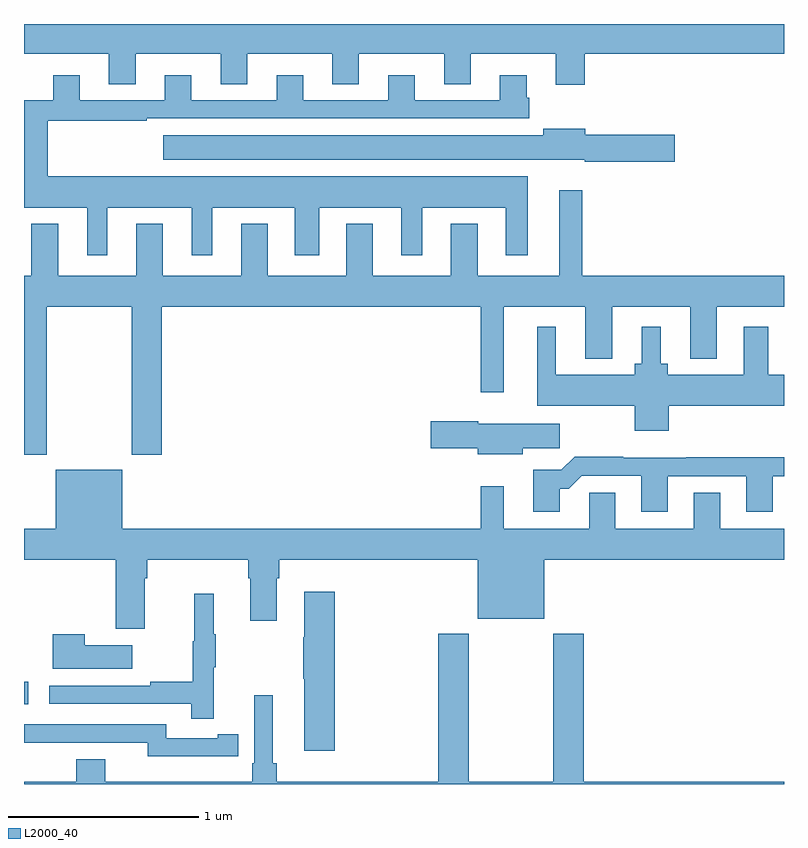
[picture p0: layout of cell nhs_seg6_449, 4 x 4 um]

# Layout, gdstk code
import gdstk
lib = gdstk.Library(unit=1e-6, precision=1e-09)
def R(c, l, rs):  # rectangles x0, y0, x1, y1
    for r in rs: c.add(gdstk.rectangle(r[:2], r[2:], *l))
def P(c, l, *ps):  # polygons
    for p in ps: c.add(gdstk.Polygon(p, *l))
L2000_40 = (2000, 40)

nhs_seg6_449 = lib.new_cell('nhs_seg6_449')
R(nhs_seg6_449, L2000_40, [(137,935.919,137.023,936.039)])
P(nhs_seg6_449, L2000_40, [(139.952,939.344),(141,939.344),(141,939.5),(137,939.5),(137,939.344),(137.447,939.344),(137.447,939.184),(137.587,939.184),(137.587,939.344),(138.035,939.344),(138.035,939.184),(138.175,939.184),(138.175,939.344),(138.623,939.344),(138.623,939.184),(138.763,939.184),(138.763,939.344),(139.211,939.344),(139.211,939.184),(139.351,939.184),(139.351,939.344),(139.799,939.344),(139.799,939.18),(139.952,939.18)],
  [(137.437,938.534),(137.882,938.534),(137.882,938.283),(137.992,938.283),(137.992,938.534),(138.425,938.534),(138.425,938.283),(138.553,938.283),(138.553,938.534),(138.986,938.534),(138.986,938.283),(139.096,938.283),(139.096,938.534),(139.535,938.534),(139.535,938.283),(139.651,938.283),(139.651,938.698),(137.125,938.698),(137.125,938.991),(137.645,938.991),(137.645,939.003),(139.658,939.003),(139.658,939.111),(139.645,939.111),(139.645,939.229),(139.505,939.229),(139.505,939.099),(139.057,939.099),(139.057,939.229),(138.917,939.229),(138.917,939.099),(138.469,939.099),(138.469,939.229),(138.329,939.229),(138.329,939.099),(137.881,939.099),(137.881,939.229),(137.741,939.229),(137.741,939.099),(137.293,939.099),(137.293,939.229),(137.153,939.229),(137.153,939.1),(137,939.1),(137,938.534),(137.333,938.534),(137.333,938.283),(137.437,938.283)],
  [(140.425,938.916),(139.954,938.916),(139.954,938.95),(139.733,938.95),(139.733,938.914),(137.733,938.914),(137.733,938.786),(139.95,938.786),(139.95,938.774),(140.425,938.774)],
  [(137.039,938.176),(137,938.176),(137,937.233),(137.121,937.233),(137.121,938.012),(137.566,938.012),(137.566,937.233),(137.726,937.233),(137.726,938.012),(139.404,938.012),(139.404,937.563),(139.525,937.563),(139.525,938.012),(139.955,938.012),(139.955,937.739),(140.095,937.739),(140.095,938.012),(140.507,938.012),(140.507,937.739),(140.647,937.739),(140.647,938.012),(141,938.012),(141,938.176),(139.939,938.176),(139.939,938.626),(139.817,938.626),(139.817,938.176),(139.387,938.176),(139.387,938.449),(139.247,938.449),(139.247,938.176),(138.835,938.176),(138.835,938.449),(138.695,938.449),(138.695,938.176),(138.283,938.176),(138.283,938.449),(138.143,938.449),(138.143,938.176),(137.731,938.176),(137.731,938.449),(137.591,938.449),(137.591,938.176),(137.179,938.176),(137.179,938.449),(137.039,938.449)],
  [(140.393,937.49),(141,937.49),(141,937.654),(140.917,937.654),(140.917,937.906),(140.789,937.906),(140.789,937.654),(140.388,937.654),(140.388,937.711),(140.35,937.711),(140.35,937.906),(140.252,937.906),(140.252,937.711),(140.215,937.711),(140.215,937.654),(139.798,937.654),(139.798,937.906),(139.7,937.906),(139.7,937.49),(140.215,937.49),(140.215,937.359),(140.393,937.359)],
  [(139.624,937.267),(139.819,937.267),(139.819,937.396),(139.392,937.396),(139.392,937.409),(139.14,937.409),(139.14,937.267),(139.388,937.267),(139.388,937.235),(139.624,937.235)],
  [(139.819,937.055),(139.868,937.055),(139.935,937.122),(140.249,937.122),(140.249,936.933),(140.389,936.933),(140.389,937.119),(140.801,937.119),(140.801,936.933),(140.941,936.933),(140.941,937.119),(141,937.119),(141,937.22),(140.485,937.22),(140.485,937.216),(140.153,937.216),(140.153,937.223),(139.898,937.223),(139.828,937.153),(139.679,937.153),(139.679,936.933),(139.819,936.933)],
  [(137.635,936.584),(137.648,936.584),(137.648,936.68),(138.179,936.68),(138.179,936.584),(138.191,936.584),(138.191,936.36),(138.331,936.36),(138.331,936.584),(138.344,936.584),(138.344,936.68),(139.388,936.68),(139.388,936.371),(139.738,936.371),(139.738,936.68),(141,936.68),(141,936.844),(140.665,936.844),(140.665,937.034),(140.525,937.034),(140.525,936.844),(140.113,936.844),(140.113,937.034),(139.974,937.034),(139.974,936.844),(139.525,936.844),(139.525,937.066),(139.404,937.066),(139.404,936.844),(137.518,936.844),(137.518,937.153),(137.168,937.153),(137.168,936.844),(137,936.844),(137,936.68),(137.483,936.68),(137.483,936.318),(137.635,936.318)],
  [(138.635,936.511),(138.476,936.511),(138.476,936.272),(138.469,936.272),(138.469,936.055),(138.476,936.055),(138.476,935.676),(138.635,935.676)],
  [(137.999,936.115),(138.01,936.115),(138.01,936.289),(137.999,936.289),(137.999,936.502),(137.896,936.502),(137.896,936.252),(137.889,936.252),(137.889,936.038),(137.665,936.038),(137.665,936.018),(137.133,936.018),(137.133,935.922),(137.881,935.922),(137.881,935.844),(137.999,935.844)],
  [(141,935.512),(139.946,935.512),(139.946,936.292),(139.786,936.292),(139.786,935.512),(139.341,935.512),(139.341,936.292),(139.181,936.292),(139.181,935.512),(138.329,935.512),(138.329,935.608),(138.31,935.608),(138.31,935.968),(138.213,935.968),(138.213,935.608),(138.2,935.608),(138.2,935.512),(137.428,935.512),(137.428,935.629),(137.276,935.629),(137.276,935.512),(137,935.512),(137,935.5),(141,935.5)],
  [(137.569,936.229),(137.321,936.229),(137.321,936.289),(137.15,936.289),(137.15,936.107),(137.569,936.107)],
  [(138.02,935.646),(138.128,935.646),(138.128,935.762),(138.02,935.762),(138.02,935.742),(137.748,935.742),(137.748,935.814),(137,935.814),(137,935.717),(137.192,935.717),(137.192,935.718),(137.652,935.718),(137.652,935.645),(138.02,935.645)])

lib.write_gds('nhs_seg6_449.gds')
